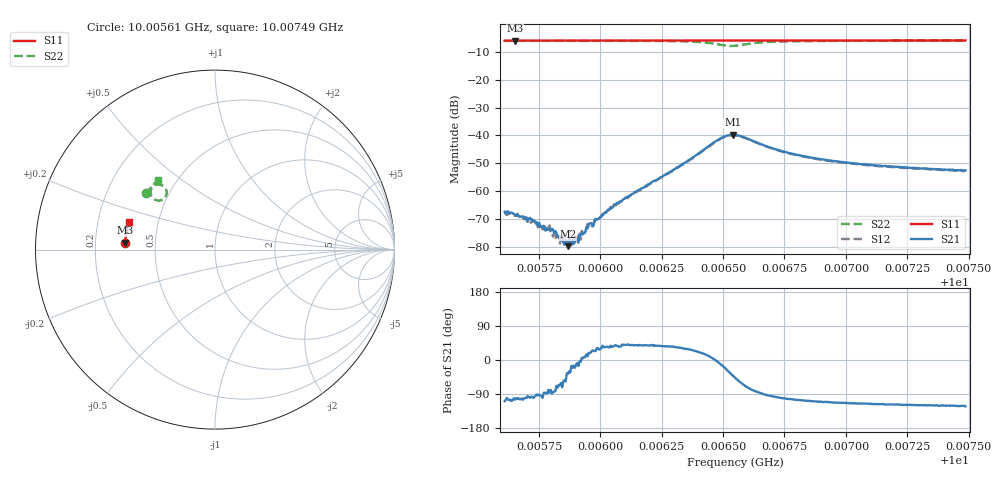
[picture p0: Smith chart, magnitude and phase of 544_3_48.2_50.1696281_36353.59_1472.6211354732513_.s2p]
#  HZ  S  RI  R  50.00
! Rohde & Schwarz Vector Network Analyzer
! Rohde-Schwarz,ZNB20-2Port,1311601062101988,3.16
! Created: UTC 3/20/2024, 12:00:31 PM
! freq[Hz]  re:S11  im:S11  re:S21  im:S21  re:S12  im:S12  re:S22  im:S22
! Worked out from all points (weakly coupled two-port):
!   401 points, 10.00561 GHz to 10.00749 GHz, reference 50 ohm
!   highest |S21| = -39.78 dB at 10.00654 GHz (marker M1); lowest = -79.7 dB at 10.00587 GHz (marker M2)
!   lowest |S11| = -6.0 dB at 10.00565 GHz (marker M3), VSWR 3.01, Z = 16.6 + j1.73 ohm
!   |S11| at or under -10 dB: nowhere
!   |S22| runs from -7.9 to -6.0 dB; largest |S21 - S12| = 0.00065
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1.000561e10  -0.5002 0.0361  -0.000137 -0.000404  -7.51e-05 -0.000399  -0.3861 0.3128
1.0005652e10  -0.4999 0.039  -9.53e-05 -0.000357  -6.63e-05 -0.000366  -0.3842 0.3152
1.0005723e10  -0.4998 0.0435  -3.84e-05 -0.000297  -1.71e-06 -0.000313  -0.3809 0.3195
1.0005756e10  -0.4997 0.0457  -1.53e-05 -0.000227  2.01e-05 -0.000259  -0.3792 0.3214
1.0005784e10  -0.4994 0.0474  6.94e-06 -0.00022  2.18e-05 -0.000229  -0.3778 0.3233
1.0005807e10  -0.4995 0.0489  1.73e-05 -0.000205  3.44e-05 -0.000149  -0.3767 0.3247
1.0005826e10  -0.4994 0.0503  4.58e-05 -0.000147  7.81e-05 -0.000134  -0.3759 0.3259
1.0005849e10  -0.4992 0.0518  6.51e-05 -9.96e-05  5.98e-05 -0.000162  -0.3745 0.3273
1.0005868e10  -0.4993 0.053  8.27e-05 -6.16e-05  8.22e-05 -6.76e-05  -0.3735 0.3286
1.0005901e10  -0.4989 0.0551  0.000141 -2.96e-05  0.00013 -2.92e-05  -0.3717 0.3307
1.0005925e10  -0.4988 0.0566  0.000165 1.69e-05  0.000189 4.44e-05  -0.3703 0.3322
1.0005948e10  -0.4987 0.0583  0.00021 3.69e-05  0.000248 7.81e-05  -0.369 0.3336
1.0005962e10  -0.4985 0.0592  0.000251 9.29e-05  0.000225 8.99e-05  -0.3681 0.3346
1.0006046e10  -0.498 0.0646  0.000414 0.000277  0.000415 0.000302  -0.3625 0.3402
1.0006239e10  -0.4966 0.077  0.00134 0.00103  0.00128 0.00106  -0.344 0.3545
1.0006483e10  -0.4937 0.0927  0.0085 -0.00107  0.00828 -0.000605  -0.271 0.3305
1.0006539e10  -0.4929 0.0956  0.00771 -0.00676  0.00797 -0.00616  -0.288 0.281
1.0006548e10  -0.493 0.0962  0.00698 -0.00747  0.00726 -0.00691  -0.2962 0.2765
1.0006745e10  -0.4917 0.1087  -0.001 -0.00504  -0.000714 -0.00498  -0.3579 0.326
1.0006863e10  -0.4902 0.1163  -0.00126 -0.00376  -0.00108 -0.00375  -0.3524 0.3443
1.0007177e10  -0.4859 0.1363  -0.00127 -0.00247  -0.00112 -0.00248  -0.3348 0.3704
1.0007487e10  -0.4806 0.1556  -0.00126 -0.00201  -0.0011 -0.00202  -0.3183 0.3875
